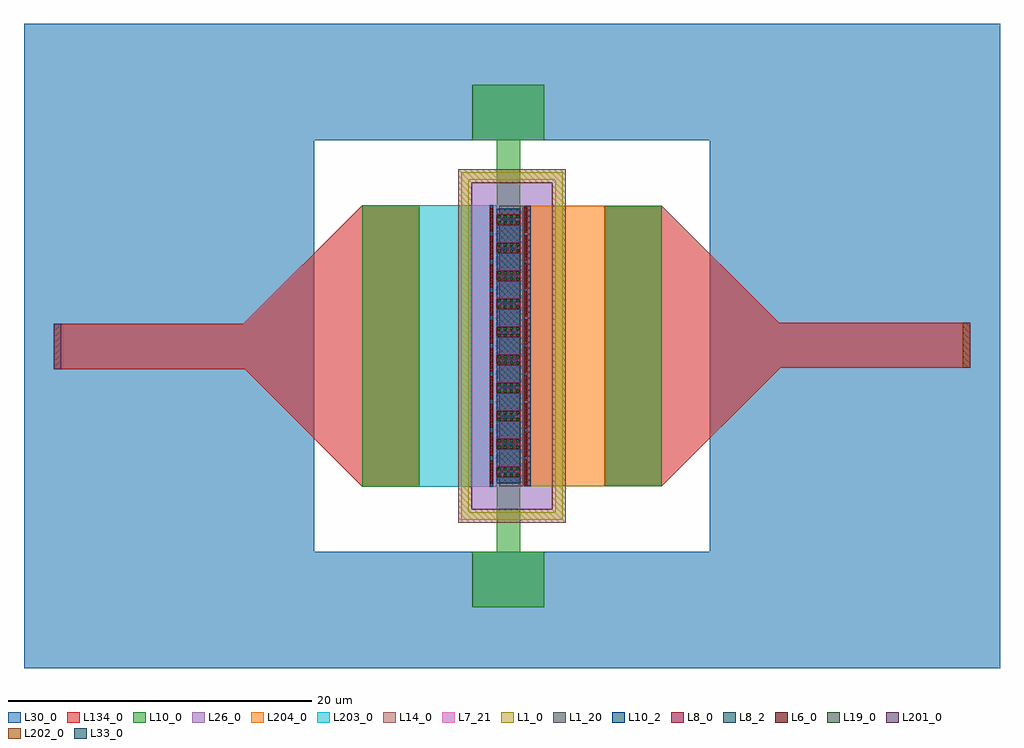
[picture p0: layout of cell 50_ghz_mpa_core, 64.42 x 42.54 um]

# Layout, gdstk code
from math import pi, radians
import gdstk
lib = gdstk.Library(unit=1e-6, precision=1e-09)
def R(c, l, rs):  # rectangles x0, y0, x1, y1
    for r in rs: c.add(gdstk.rectangle(r[:2], r[2:], *l))
def A(c, l, x, y, w, h, nx, ny, dx, dy):  # array of equal rectangles
    R(c, l, [(x+i*dx, y+j*dy, x+i*dx+w, y+j*dy+h) for i in range(nx) for j in range(ny)])
def P(c, l, *ps):  # polygons
    for p in ps: c.add(gdstk.Polygon(p, *l))
L1_0 = (1, 0)
L1_20 = (1, 20)
L6_0 = (6, 0)
L7_21 = (7, 21)
L8_0 = (8, 0)
L8_2 = (8, 2)
L10_0 = (10, 0)
L10_2 = (10, 2)
L14_0 = (14, 0)
L19_0 = (19, 0)
L26_0 = (26, 0)
L30_0 = (30, 0)
L33_0 = (33, 0)
L134_0 = (134, 0)
L201_0 = (201, 0)
L202_0 = (202, 0)
L203_0 = (203, 0)
L204_0 = (204, 0)

npn13g2_1 = lib.new_cell('npn13G2$1')
A(npn13g2_1, L1_0, -0.925, 0.98, 1.85, 0.3, 10, 1, 1.85, 0)
P(npn13g2_1, L1_0, [(-3.15,-3.13),(-3.15,3.58),(19.3,3.58),(19.3,3.08),(-2.65,3.08),(-2.65,-2.63),(19.3,-2.63),(19.3,3.58),(19.8,3.58),(19.8,-3.13)])
P(npn13g2_1, L1_20, [(-0.235,-0.83),(-0.445,-0.62),(-0.925,-0.62),(-0.925,0.98),(0.925,0.98),(0.925,-0.62),(0.445,-0.62),(0.235,-0.83)],
  [(1.615,-0.83),(1.405,-0.62),(0.925,-0.62),(0.925,0.98),(2.775,0.98),(2.775,-0.62),(2.295,-0.62),(2.085,-0.83)],
  [(3.465,-0.83),(3.255,-0.62),(2.775,-0.62),(2.775,0.98),(4.625,0.98),(4.625,-0.62),(4.145,-0.62),(3.935,-0.83)],
  [(5.315,-0.83),(5.105,-0.62),(4.625,-0.62),(4.625,0.98),(6.475,0.98),(6.475,-0.62),(5.995,-0.62),(5.785,-0.83)],
  [(7.165,-0.83),(6.955,-0.62),(6.475,-0.62),(6.475,0.98),(8.325,0.98),(8.325,-0.62),(7.845,-0.62),(7.635,-0.83)],
  [(9.015,-0.83),(8.805,-0.62),(8.325,-0.62),(8.325,0.98),(10.175,0.98),(10.175,-0.62),(9.695,-0.62),(9.485,-0.83)],
  [(10.865,-0.83),(10.655,-0.62),(10.175,-0.62),(10.175,0.98),(12.025,0.98),(12.025,-0.62),(11.545,-0.62),(11.335,-0.83)],
  [(12.715,-0.83),(12.505,-0.62),(12.025,-0.62),(12.025,0.98),(13.875,0.98),(13.875,-0.62),(13.395,-0.62),(13.185,-0.83)],
  [(14.565,-0.83),(14.355,-0.62),(13.875,-0.62),(13.875,0.98),(15.725,0.98),(15.725,-0.62),(15.245,-0.62),(15.035,-0.83)],
  [(16.415,-0.83),(16.205,-0.62),(15.725,-0.62),(15.725,0.98),(17.575,0.98),(17.575,-0.62),(17.095,-0.62),(16.885,-0.83)])
A(npn13g2_1, L6_0, -0.76, -1.22, 1.52, 0.16, 10, 1, 1.85, 0)
A(npn13g2_1, L6_0, -0.825, 1.05, 1.65, 0.16, 10, 1, 1.85, 0)
P(npn13g2_1, L7_21, [(-0.975,-2.43),(-0.975,-0.9),(-0.555,-0.48),(-0.555,0.69),(-0.305,0.94),(0.305,0.94),(0.555,0.69),(0.555,-0.48),(0.975,-0.9),(0.975,-2.43)],
  [(0.875,-2.43),(0.875,-0.9),(1.295,-0.48),(1.295,0.69),(1.545,0.94),(2.155,0.94),(2.405,0.69),(2.405,-0.48),(2.825,-0.9),(2.825,-2.43)],
  [(2.725,-2.43),(2.725,-0.9),(3.145,-0.48),(3.145,0.69),(3.395,0.94),(4.005,0.94),(4.255,0.69),(4.255,-0.48),(4.675,-0.9),(4.675,-2.43)],
  [(4.575,-2.43),(4.575,-0.9),(4.995,-0.48),(4.995,0.69),(5.245,0.94),(5.855,0.94),(6.105,0.69),(6.105,-0.48),(6.525,-0.9),(6.525,-2.43)],
  [(6.425,-2.43),(6.425,-0.9),(6.845,-0.48),(6.845,0.69),(7.095,0.94),(7.705,0.94),(7.955,0.69),(7.955,-0.48),(8.375,-0.9),(8.375,-2.43)],
  [(8.275,-2.43),(8.275,-0.9),(8.695,-0.48),(8.695,0.69),(8.945,0.94),(9.555,0.94),(9.805,0.69),(9.805,-0.48),(10.225,-0.9),(10.225,-2.43)],
  [(10.125,-2.43),(10.125,-0.9),(10.545,-0.48),(10.545,0.69),(10.795,0.94),(11.405,0.94),(11.655,0.69),(11.655,-0.48),(12.075,-0.9),(12.075,-2.43)],
  [(11.975,-2.43),(11.975,-0.9),(12.395,-0.48),(12.395,0.69),(12.645,0.94),(13.255,0.94),(13.505,0.69),(13.505,-0.48),(13.925,-0.9),(13.925,-2.43)],
  [(13.825,-2.43),(13.825,-0.9),(14.245,-0.48),(14.245,0.69),(14.495,0.94),(15.105,0.94),(15.355,0.69),(15.355,-0.48),(15.775,-0.9),(15.775,-2.43)],
  [(15.675,-2.43),(15.675,-0.9),(16.095,-0.48),(16.095,0.69),(16.345,0.94),(16.955,0.94),(17.205,0.69),(17.205,-0.48),(17.625,-0.9),(17.625,-2.43)])
A(npn13g2_1, L8_0, -0.35, -0.785, 0.7, 1.555, 10, 1, 1.85, 0)
R(npn13g2_1, L8_0, [(-0.975,-1.26,17.625,-1.02), (-0.925,1.02,17.575,1.46)])
R(npn13g2_1, L8_2, [(-0.975,-1.26,17.625,-1.02), (-0.925,1.02,17.575,1.46)])
R(npn13g2_1, L10_0, [(-0.925,-0.785,17.575,0.77)])
R(npn13g2_1, L10_2, [(-0.745,-0.785,17.395,0.77)])
P(npn13g2_1, L14_0, [(-3.35,-3.33),(-3.35,3.78),(19.1,3.78),(19.1,2.88),(-2.45,2.88),(-2.45,-2.43),(19.1,-2.43),(19.1,3.78),(20,3.78),(20,-3.33)])
A(npn13g2_1, L19_0, -0.3, -0.72, 0.19, 0.19, 1, 4, 0, 0.41)
A(npn13g2_1, L19_0, 0.11, -0.72, 0.19, 0.19, 1, 4, 0, 0.41)
A(npn13g2_1, L19_0, 1.55, -0.72, 0.19, 0.19, 1, 4, 0, 0.41)
A(npn13g2_1, L19_0, 1.96, -0.72, 0.19, 0.19, 1, 4, 0, 0.41)
A(npn13g2_1, L19_0, 3.4, -0.72, 0.19, 0.19, 1, 4, 0, 0.41)
A(npn13g2_1, L19_0, 3.81, -0.72, 0.19, 0.19, 1, 4, 0, 0.41)
A(npn13g2_1, L19_0, 5.25, -0.72, 0.19, 0.19, 1, 4, 0, 0.41)
A(npn13g2_1, L19_0, 5.66, -0.72, 0.19, 0.19, 1, 4, 0, 0.41)
A(npn13g2_1, L19_0, 7.1, -0.72, 0.19, 0.19, 1, 4, 0, 0.41)
A(npn13g2_1, L19_0, 7.51, -0.72, 0.19, 0.19, 1, 4, 0, 0.41)
A(npn13g2_1, L19_0, 8.95, -0.72, 0.19, 0.19, 1, 4, 0, 0.41)
A(npn13g2_1, L19_0, 9.36, -0.72, 0.19, 0.19, 1, 4, 0, 0.41)
A(npn13g2_1, L19_0, 10.8, -0.72, 0.19, 0.19, 1, 4, 0, 0.41)
A(npn13g2_1, L19_0, 11.21, -0.72, 0.19, 0.19, 1, 4, 0, 0.41)
A(npn13g2_1, L19_0, 12.65, -0.72, 0.19, 0.19, 1, 4, 0, 0.41)
A(npn13g2_1, L19_0, 13.06, -0.72, 0.19, 0.19, 1, 4, 0, 0.41)
A(npn13g2_1, L19_0, 14.5, -0.72, 0.19, 0.19, 1, 4, 0, 0.41)
A(npn13g2_1, L19_0, 14.91, -0.72, 0.19, 0.19, 1, 4, 0, 0.41)
A(npn13g2_1, L19_0, 16.35, -0.72, 0.19, 0.19, 1, 4, 0, 0.41)
A(npn13g2_1, L19_0, 16.76, -0.72, 0.19, 0.19, 1, 4, 0, 0.41)
R(npn13g2_1, L26_0, [(-2.45,-2.43,19.1,2.88)])
A(npn13g2_1, L33_0, -0.035, -0.45, 0.07, 0.9, 10, 1, 1.85, 0)
npn13g2_1.add(gdstk.Label('npn13G2', (0.015,2.31), layer=63, texttype=0))
npn13g2_1.add(gdstk.Label('C', (8.325,1.24), layer=63, texttype=0))
npn13g2_1.add(gdstk.Label('B', (8.325,-1.14), layer=63, texttype=0))
npn13g2_1.add(gdstk.Label('E', (8.325,-0.007), layer=63, texttype=0))
npn13g2_1.add(gdstk.Label('Ae=10*1*0.07*0.90', (-1.977,-2.546), layer=63, texttype=0))

c_50_ghz_mpa_core = lib.new_cell('50_ghz_mpa_core')
R(c_50_ghz_mpa_core, L10_0, [(-7.15,-25.01,-2.395,-21.325), (-5.55,-21.315,-3.995,-17.005), (-14.43,-17.055,-10.675,1.545), (1.595,-17.005,5.35,1.495), (-5.55,1.495,-3.995,5.805), (-7.15,5.805,-2.395,9.49)])
R(c_50_ghz_mpa_core, L30_0, [(-17.595,-29.03,8.515,-21.325), (-36.75,-29.02,-34.8,13.51), (-34.8,-29.02,-17.595,13.51), (8.515,-29.02,25.72,13.51), (25.72,-29.02,27.67,13.51), (-17.595,5.805,8.515,13.51)])
R(c_50_ghz_mpa_core, L134_0, [(-14.43,-17.055,-10.675,1.545), (1.595,-17.005,5.35,1.495), (-34.8,-9.305,-14.43,-6.305), (5.35,-9.21,25.72,-6.21)])
P(c_50_ghz_mpa_core, L134_0, [(-22.28,-6.305),(-14.43,1.545),(-14.43,-6.305)],
  [(-14.43,-17.055),(-22.185,-9.305),(-14.43,-9.305)],
  [(5.35,-17.005),(5.35,-9.21),(13.195,-9.21)],
  [(5.35,-6.21),(5.35,1.495),(13.105,-6.21)])
R(c_50_ghz_mpa_core, L201_0, [(-34.8,-9.305,-34.3,-6.305)])
R(c_50_ghz_mpa_core, L202_0, [(25.22,-9.21,25.72,-6.21)])
R(c_50_ghz_mpa_core, L203_0, [(-10.675,-17.055,-5.55,1.54)])
R(c_50_ghz_mpa_core, L204_0, [(-3.995,-17.005,1.595,1.495)])
c_50_ghz_mpa_core.add(gdstk.Reference(npn13g2_1, (-4.765,0.57), rotation=3*pi/2))

lib.write_gds('50_ghz_mpa_core.gds')
